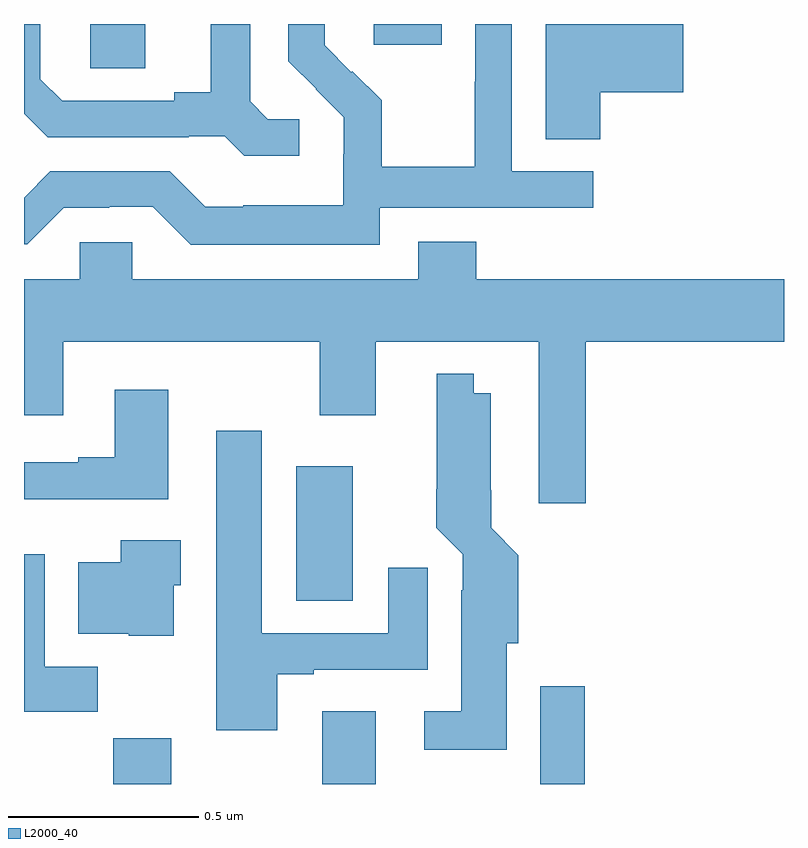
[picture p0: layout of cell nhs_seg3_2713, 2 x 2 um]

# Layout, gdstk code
import gdstk
lib = gdstk.Library(unit=1e-6, precision=1e-09)
def R(c, l, rs):  # rectangles x0, y0, x1, y1
    for r in rs: c.add(gdstk.rectangle(r[:2], r[2:], *l))
def P(c, l, *ps):  # polygons
    for p in ps: c.add(gdstk.Polygon(p, *l))
L2000_40 = (2000, 40)

nhs_seg3_2713 = lib.new_cell('nhs_seg3_2713')
R(nhs_seg3_2713, L2000_40, [(144.235,718.4,144.387,718.52), (144.785,718.4,144.925,718.591), (145.359,718.4,145.475,718.657), (144.716,718.882,144.865,719.236), (144.174,720.283,144.319,720.4), (144.92,720.345,145.099,720.4)])
P(nhs_seg3_2713, L2000_40, [(145.517,720.221),(145.735,720.221),(145.735,720.4),(145.373,720.4),(145.373,720.097),(145.517,720.097)],
  [(144.724,720.15),(144.642,720.15),(144.595,720.197),(144.595,720.4),(144.491,720.4),(144.491,720.221),(144.395,720.221),(144.395,720.198),(144.1,720.198),(144.043,720.255),(144.043,720.4),(144,720.4),(144,720.164),(144.062,720.102),(144.434,720.102),(144.434,720.105),(144.528,720.105),(144.58,720.053),(144.724,720.053)],
  [(144.936,719.916),(145.498,719.916),(145.498,720.012),(145.284,720.012),(145.284,720.4),(145.188,720.4),(145.188,720.248),(145.186,720.248),(145.186,720.025),(144.941,720.025),(144.941,720.199),(144.864,720.276),(144.861,720.273),(144.791,720.344),(144.791,720.4),(144.696,720.4),(144.696,720.302),(144.769,720.229),(144.768,720.228),(144.842,720.154),(144.842,720.057),(144.84,720.057),(144.84,719.923),(144.577,719.923),(144.577,719.919),(144.477,719.919),(144.384,720.012),(144.069,720.012),(144,719.943),(144,719.82),(144.009,719.82),(144.105,719.916),(144.224,719.916),(144.224,719.919),(144.339,719.919),(144.439,719.819),(144.936,719.819)],
  [(145.478,719.564),(146,719.564),(146,719.728),(145.19,719.728),(145.19,719.827),(145.037,719.827),(145.037,719.728),(144.285,719.728),(144.285,719.826),(144.147,719.826),(144.147,719.728),(144,719.728),(144,719.37),(144.103,719.37),(144.103,719.564),(144.778,719.564),(144.778,719.37),(144.925,719.37),(144.925,719.564),(145.355,719.564),(145.355,719.139),(145.478,719.139)],
  [(145.27,718.77),(145.301,718.77),(145.301,719.002),(145.229,719.074),(145.229,719.173),(145.228,719.173),(145.228,719.428),(145.183,719.428),(145.183,719.479),(145.086,719.479),(145.086,719.176),(145.085,719.176),(145.085,719.074),(145.155,719.004),(145.155,718.91),(145.151,718.91),(145.151,718.591),(145.053,718.591),(145.053,718.49),(145.27,718.49)],
  [(144.379,719.437),(144.239,719.437),(144.239,719.26),(144.143,719.26),(144.143,719.247),(144,719.247),(144,719.15),(144.379,719.15)],
  [(144.667,718.689),(144.763,718.689),(144.763,718.701),(145.063,718.701),(145.063,718.969),(144.959,718.969),(144.959,718.797),(144.625,718.797),(144.625,719.329),(144.506,719.329),(144.506,718.542),(144.667,718.542)],
  [(144.394,718.923),(144.412,718.923),(144.412,719.041),(144.254,719.041),(144.254,718.984),(144.143,718.984),(144.143,718.796),(144.276,718.796),(144.276,718.79),(144.394,718.79)],
  [(144.194,718.708),(144.055,718.708),(144.055,719.005),(144,719.005),(144,718.59),(144.194,718.59)])

lib.write_gds('nhs_seg3_2713.gds')
